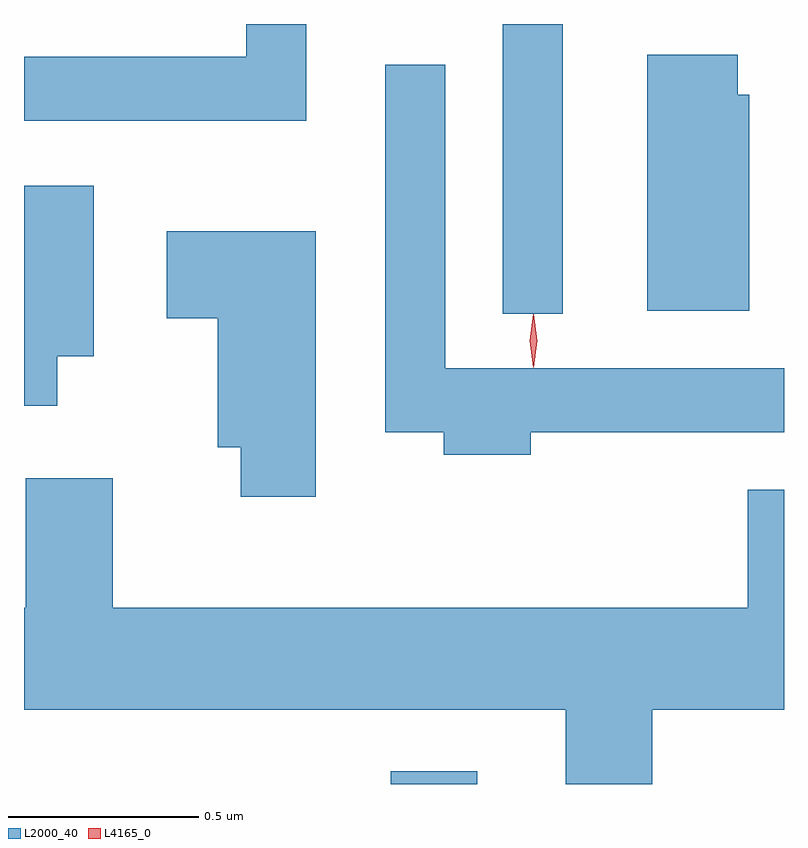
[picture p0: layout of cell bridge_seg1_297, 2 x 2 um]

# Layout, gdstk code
import gdstk
lib = gdstk.Library(unit=1e-6, precision=1e-09)
def R(c, l, rs):  # rectangles x0, y0, x1, y1
    for r in rs: c.add(gdstk.rectangle(r[:2], r[2:], *l))
def P(c, l, *ps):  # polygons
    for p in ps: c.add(gdstk.Polygon(p, *l))
L2000_40 = (2000, 40)
L4165_0 = (4165, 0)

bridge_seg1_297 = lib.new_cell('bridge_seg1_297')
R(bridge_seg1_297, L2000_40, [(844.321,894.94,844.549,894.974), (844.616,896.178,844.774,896.94)])
P(bridge_seg1_297, L2000_40, [(844.099,896.94),(843.941,896.94),(843.941,896.854),(843.356,896.854),(843.356,896.686),(844.099,896.686)],
  [(845.264,896.754),(845.234,896.754),(845.234,896.859),(844.996,896.859),(844.996,896.186),(845.264,896.186)],
  [(844.689,895.866),(845.356,895.866),(845.356,896.034),(844.464,896.034),(844.464,896.833),(844.306,896.833),(844.306,895.866),(844.461,895.866),(844.461,895.806),(844.689,895.806)],
  [(843.444,896.066),(843.539,896.066),(843.539,896.514),(843.356,896.514),(843.356,895.936),(843.444,895.936)],
  [(844.124,896.394),(843.731,896.394),(843.731,896.166),(843.866,896.166),(843.866,895.826),(843.926,895.826),(843.926,895.696),(844.124,895.696)],
  [(845.009,895.136),(845.356,895.136),(845.356,895.714),(845.261,895.714),(845.261,895.404),(843.589,895.404),(843.589,895.744),(843.361,895.744),(843.361,895.404),(843.356,895.404),(843.356,895.136),(844.781,895.136),(844.781,894.94),(845.009,894.94)])
P(bridge_seg1_297, L4165_0, [(844.696,896.037),(844.687,896.107),(844.696,896.176),(844.697,896.176),(844.697,896.176),(844.707,896.107),(844.697,896.037),(844.697,896.037)],
  [(844.697,896.039),(844.696,896.04),(844.687,896.106),(844.696,896.172),(844.697,896.173),(844.697,896.172),(844.707,896.106),(844.697,896.04)])

lib.write_gds('bridge_seg1_297.gds')
